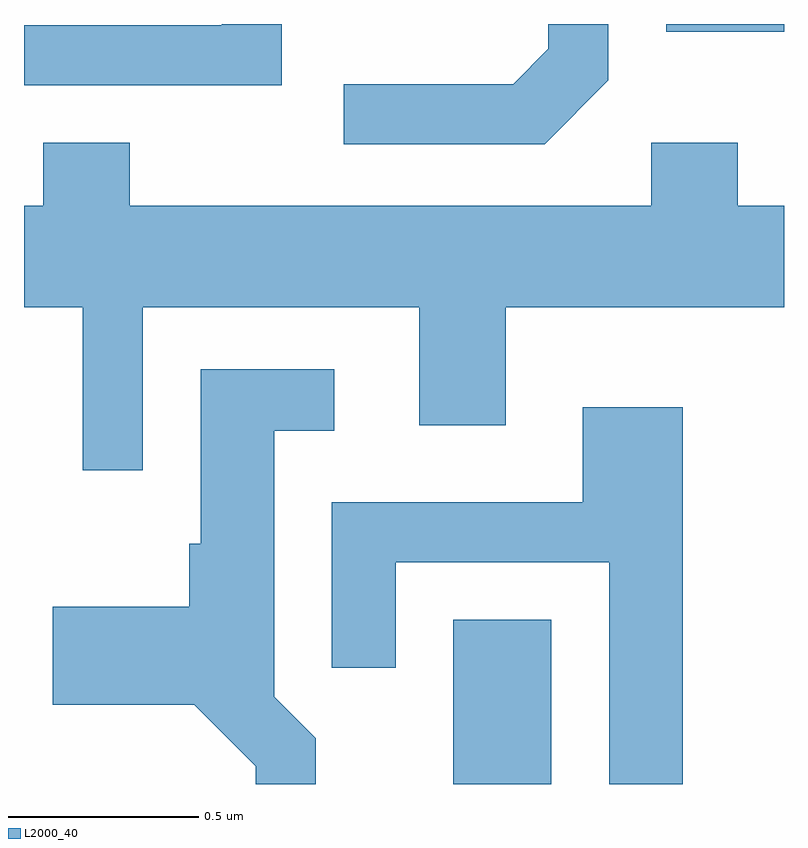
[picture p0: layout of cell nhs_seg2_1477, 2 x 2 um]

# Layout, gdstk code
import gdstk
lib = gdstk.Library(unit=1e-6, precision=1e-09)
def R(c, l, rs):  # rectangles x0, y0, x1, y1
    for r in rs: c.add(gdstk.rectangle(r[:2], r[2:], *l))
def P(c, l, *ps):  # polygons
    for p in ps: c.add(gdstk.Polygon(p, *l))
L2000_40 = (2000, 40)

nhs_seg2_1477 = lib.new_cell('nhs_seg2_1477')
R(nhs_seg2_1477, L2000_40, [(196.741,1084.802,196.999,1085.234), (197.301,1086.781,197.611,1086.802)])
P(nhs_seg2_1477, L2000_40, [(197.149,1086.654),(197.149,1086.802),(196.991,1086.802),(196.991,1086.737),(196.899,1086.644),(196.453,1086.644),(196.453,1086.486),(196.982,1086.486)],
  [(196.289,1086.802),(196.131,1086.802),(196.131,1086.799),(195.611,1086.799),(195.611,1086.641),(196.289,1086.641)],
  [(195.924,1086.056),(196.651,1086.056),(196.651,1085.746),(196.879,1085.746),(196.879,1086.056),(197.611,1086.056),(197.611,1086.324),(197.489,1086.324),(197.489,1086.489),(197.261,1086.489),(197.261,1086.324),(195.889,1086.324),(195.889,1086.489),(195.661,1086.489),(195.661,1086.324),(195.611,1086.324),(195.611,1086.056),(195.766,1086.056),(195.766,1085.628),(195.924,1085.628)],
  [(196.379,1084.922),(196.269,1085.032),(196.269,1085.731),(196.428,1085.731),(196.428,1085.894),(196.076,1085.894),(196.076,1085.434),(196.046,1085.434),(196.046,1085.269),(195.686,1085.269),(195.686,1085.011),(196.059,1085.011),(196.221,1084.849),(196.221,1084.802),(196.379,1084.802)],
  [(197.344,1085.794),(197.081,1085.794),(197.081,1085.544),(196.421,1085.544),(196.421,1085.108),(196.589,1085.108),(196.589,1085.386),(197.151,1085.386),(197.151,1084.802),(197.344,1084.802)])

lib.write_gds('nhs_seg2_1477.gds')
